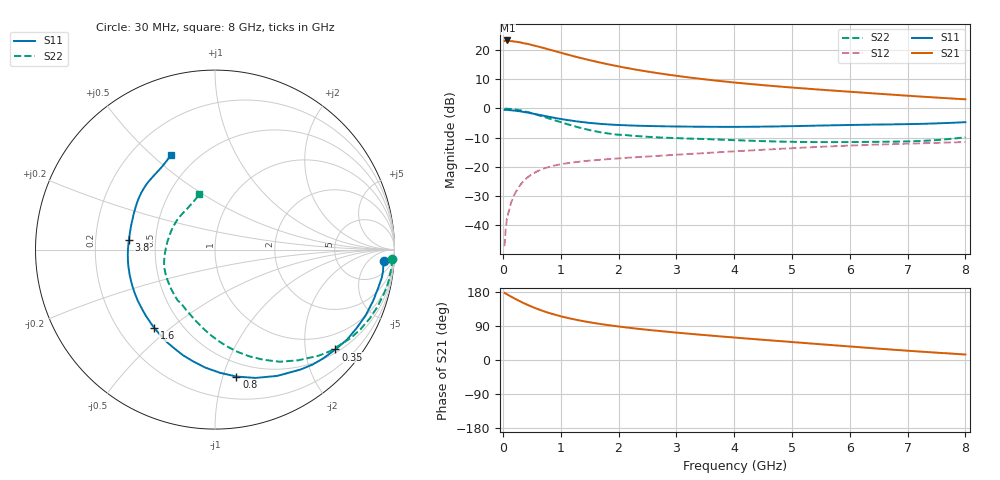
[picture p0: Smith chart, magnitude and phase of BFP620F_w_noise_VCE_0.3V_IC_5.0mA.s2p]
! Infineon Technologies  Discrete & RF Semiconductors
! BFP620F
! VCE =  0.3 V,  IC =  5.0 mA
! Common Emitter S-Parameters:  Dec 2014
# GHz  S  MA  R  50
!  f  S11  S21  S12  S22
! GHz  MAG  ANG  MAG  ANG  MAG  ANG  MAG  ANG
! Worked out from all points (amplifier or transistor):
!   95 points, 30 MHz to 8 GHz, reference 50 ohm
!   highest |S21| = 23.2 dB at 80 MHz (marker M1)
!   |S21| within 3 dB of that: start of sweep to 782.8 MHz
!   unconditionally stable (mu >= 1): 4.85 GHz to end of sweep
!   at 300 MHz: K = 0.08, MSG = 24.4 dB, |S12| = -26.2 dB
!   at 3.3 GHz: K = 0.85, MSG = 12.9 dB, |S12| = -15.5 dB
!   at 8 GHz: K = 1.15, MAG = 5.0 dB, |S12| = -11.5 dB
!   lowest NFmin = 0.52 dB at 450 MHz
!   S11 on the Smith chart (normalised r, x): 30 MHz: 14, -16; 350 MHz: 0.58, -2.66; 800 MHz: 0.38, -1.11; 1.6 GHz: 0.35, -0.44; 3.8 GHz: 0.35, +0.05; 8 GHz: 0.36, +0.57
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0.03  0.9415 -4.0  14.16 177.0  0.0044 84.4  0.9891 -3.0
0.05  0.9425 -6.2  14.41 175.3  0.0088 90.5  0.9887 -4.8
0.08  0.9424 -9.7  14.5 172.7  0.0132 88.1  0.985 -7.7
0.12  0.9311 -14.5  14.14 169.0  0.0206 81.3  0.9804 -11.7
0.25  0.9023 -29.0  13.69 158.4  0.0411 74.3  0.9437 -24.0
0.35  0.8713 -39.7  13.06 150.8  0.056 68.7  0.9033 -33.0
0.45  0.8409 -49.5  12.54 143.9  0.0689 63.5  0.8554 -41.4
0.6  0.7844 -63.8  11.48 134.6  0.0845 56.2  0.7713 -53.1
0.7  0.7496 -72.5  10.81 129.0  0.093 52.3  0.7214 -60.0
0.8  0.7174 -80.4  10.16 124.0  0.0999 49.0  0.6703 -66.3
1  0.6598 -94.7  8.957 115.4  0.1107 43.8  0.5819 -77.8
1.1  0.6347 -101.0  8.405 111.7  0.1148 41.6  0.5415 -83.2
1.4  0.5799 -117.9  7.06 102.3  0.1249 37.1  0.4496 -97.5
1.6  0.5532 -127.6  6.339 97.1  0.1301 35.2  0.4058 -106.5
1.8  0.5336 -136.1  5.73 92.5  0.1351 33.7  0.3751 -114.8
2.1  0.5152 -147.0  4.996 86.6  0.1419 31.5  0.3511 -126.5
2.7  0.4955 -163.8  3.974 76.7  0.1543 29.3  0.3183 -144.1
3.8  0.4824 173.7  2.905 61.8  0.1793 26.0  0.2914 -166.7
4.1  0.4834 168.7  2.712 58.1  0.1864 25.1  0.2841 -172.5
5.4  0.5063 149.4  2.122 42.7  0.2179 19.5  0.2654 162.0
6.7  0.5319 131.9  1.724 27.8  0.2439 12.4  0.2692 135.4
8  0.581 115.2  1.428 14.4  0.2658 5.3  0.32 105.8
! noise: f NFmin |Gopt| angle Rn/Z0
0.45  0.52  0.46  9  0.28
0.9  0.59  0.43  20  0.24
1.5  0.66  0.38  26  0.22
1.8  0.7  0.36  30  0.21
1.9  0.71  0.31  42  0.23
2.4  0.77  0.28  56  0.21
3.5  0.9  0.27  77  0.16
5.5  1.12  0.18  155  0.13
6  1.17  0.14  173  0.25
